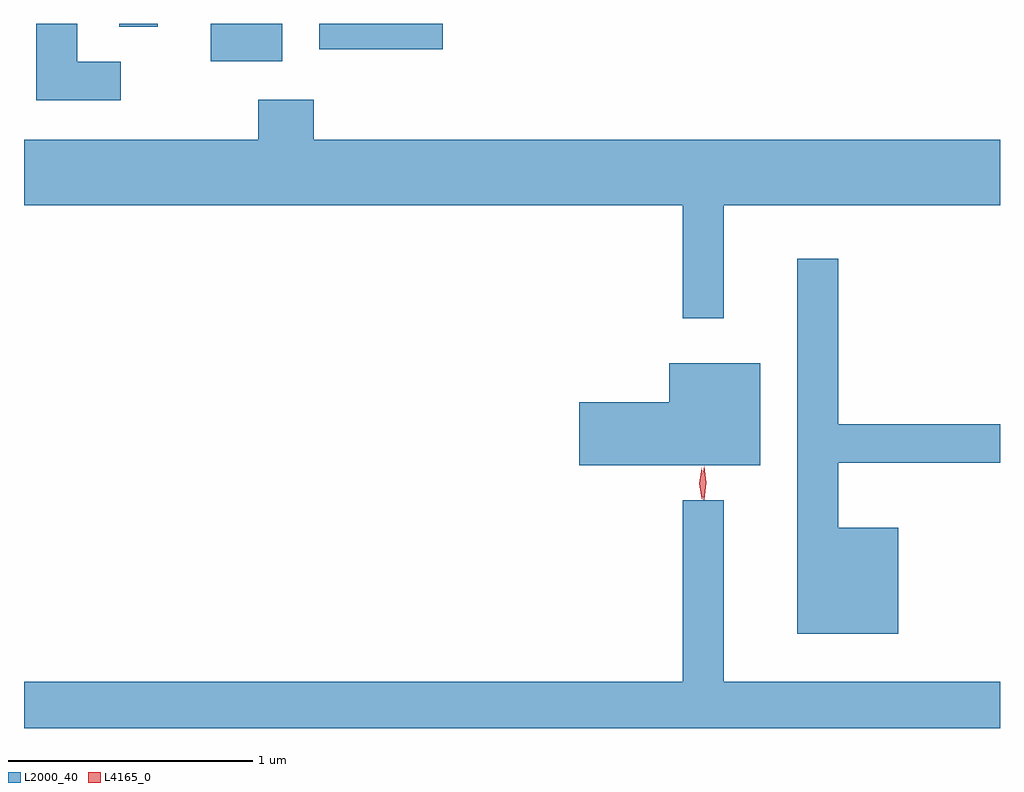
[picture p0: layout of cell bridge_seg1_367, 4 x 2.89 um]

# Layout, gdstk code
import gdstk
lib = gdstk.Library(unit=1e-6, precision=1e-09)
def R(c, l, rs):  # rectangles x0, y0, x1, y1
    for r in rs: c.add(gdstk.rectangle(r[:2], r[2:], *l))
def P(c, l, *ps):  # polygons
    for p in ps: c.add(gdstk.Polygon(p, *l))
L2000_40 = (2000, 40)
L4165_0 = (4165, 0)

bridge_seg1_367 = lib.new_cell('bridge_seg1_367')
R(bridge_seg1_367, L2000_40, [(836.496,842.446,836.789,842.601), (836.941,842.496,837.448,842.601), (836.121,842.588,836.279,842.601)])
P(bridge_seg1_367, L2000_40, [(836.128,842.444),(835.949,842.444),(835.949,842.601),(835.781,842.601),(835.781,842.286),(836.128,842.286)],
  [(838.599,841.856),(839.731,841.856),(839.731,842.124),(836.919,842.124),(836.919,842.289),(836.691,842.289),(836.691,842.124),(835.731,842.124),(835.731,841.856),(838.431,841.856),(838.431,841.393),(838.599,841.393)],
  [(839.314,840.534),(839.069,840.534),(839.069,840.801),(839.731,840.801),(839.731,840.959),(839.069,840.959),(839.069,841.638),(838.901,841.638),(838.901,840.101),(839.314,840.101)],
  [(838.749,841.209),(838.376,841.209),(838.376,841.049),(838.006,841.049),(838.006,840.791),(838.749,840.791)],
  [(839.731,839.904),(838.599,839.904),(838.599,840.648),(838.431,840.648),(838.431,839.904),(835.731,839.904),(835.731,839.712),(839.731,839.712)])
P(bridge_seg1_367, L4165_0, [(838.517,840.65),(838.517,840.65),(838.508,840.718),(838.518,840.786),(838.519,840.786),(838.519,840.786),(838.528,840.718),(838.518,840.65)],
  [(838.509,840.653),(838.509,840.653),(838.499,840.716),(838.508,840.779),(838.509,840.78),(838.509,840.779),(838.519,840.716),(838.51,840.653)])

lib.write_gds('bridge_seg1_367.gds')
